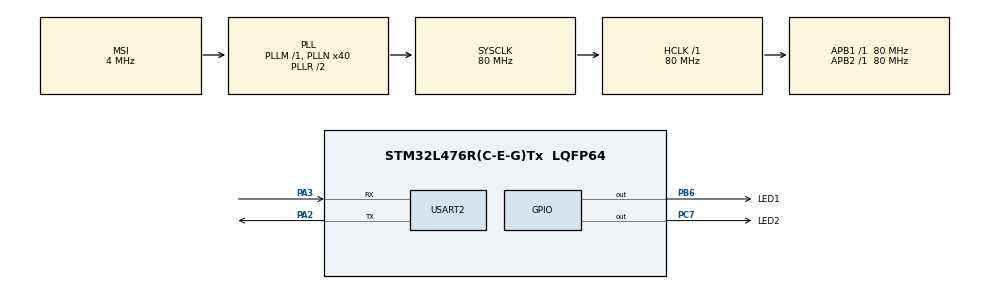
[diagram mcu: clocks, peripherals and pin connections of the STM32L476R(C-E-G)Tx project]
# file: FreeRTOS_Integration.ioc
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Mcu.Family=STM32L4
Mcu.Name=STM32L476R(C-E-G)Tx
Mcu.Package=LQFP64
NVIC.PriorityGroup=NVIC_PRIORITYGROUP_4
NVIC.TIM1_TRG_COM_TIM17_IRQn=true\:15\:0\:false\:false\:true\:false\:true\:true
NVIC.TimeBase=TIM1_TRG_COM_TIM17_IRQn
NVIC.TimeBaseIP=TIM17
PA2.Mode=Asynchronous
PA2.Signal=USART2_TX
PA3.Mode=Asynchronous
PA3.Signal=USART2_RX
PB6.GPIO_Label=LED1
PB6.Signal=GPIO_Output
PC7.GPIO_Label=LED2
PC7.Signal=GPIO_Output
ProjectManager.HeapSize=0x200
ProjectManager.StackSize=0x400
ProjectManager.TargetToolchain=CMake
RCC.ADCFreq_Value=16000000
RCC.AHBFreq_Value=80000000
RCC.APB1Freq_Value=80000000
RCC.APB1TimFreq_Value=80000000
RCC.APB2Freq_Value=80000000
RCC.APB2TimFreq_Value=80000000
RCC.CortexFreq_Value=80000000
RCC.HCLKFreq_Value=80000000
RCC.HSE_VALUE=8000000
RCC.HSI_VALUE=16000000
RCC.LSE_VALUE=32768
RCC.MSI_VALUE=4000000
RCC.PLLN=40
RCC.SYSCLKFreq_VALUE=80000000
RCC.SYSCLKSource=RCC_SYSCLKSOURCE_PLLCLK
RCC.USBFreq_Value=16000000
RCC.VCOOutputFreq_Value=160000000
TIM2.ClockDivision=TIM_CLOCKDIVISION_DIV4
TIM2.Prescaler=1
USART2.VirtualMode-Asynchronous=VM_ASYNC
VP_SYS_VS_tim17.Mode=TIM17
VP_TIM2_VS_ClockSourceINT.Mode=Internal
board=custom

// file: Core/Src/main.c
/* USER CODE BEGIN Header */
/**
 ******************************************************************************
 * @file           : main.c
 * @brief          : Main program body
 ******************************************************************************
 * @attention
 *
 * Copyright (c) 2024 STMicroelectronics.
 * All rights reserved.
 *
 * This software is licensed under terms that can be found in the LICENSE file
 * in the root directory of this software component.
 * If no LICENSE file comes with this software, it is provided AS-IS.
 *
 ******************************************************************************
 */
/* USER CODE END Header */
#include "main.h"
/* USER CODE BEGIN Includes */
#include "FreeRTOS_trace.pb.h"
#include "app.h"
#include "pb_encode.h"
#include <inttypes.h>
#include <stdio.h>
#include <string.h>
/* USER CODE END Includes */

/* USER CODE BEGIN PD */

static void report_result(char *name, uint32_t *start_t, uint32_t *stop_t, uint32_t *msg_len,
                          size_t s) {
  printf("-- Result of %s --\r\n", name);
  for (size_t i = 0; i < s; i++) {
    printf("  CNT: %" PRIu32 " LEN: %" PRIu32 "\r\n", stop_t[i] - start_t[i], msg_len[i]);
  }
}

static inline size_t encode_u8(uint8_t *buf, uint8_t val) {
  buf[0] = val;
  return 1;
}

static inline size_t encode_u32(uint8_t *buf, uint32_t val) {
  for (size_t i = 0; i < 5; i++) {
    uint8_t bits = val & 0x7F;
    val = val >> 7;
    if (val == 0) {
      buf[i] = bits | 0x00;
      return i + 1;
    } else {
      buf[i] = bits | 0x80;
    }
  }
  return 5;
}

static inline size_t encode_u64(uint8_t *buf, uint64_t val) {
  for (size_t i = 0; i < 10; i++) {
    uint8_t bits = val & 0x7F;
    val = val >> 7;
    if (val == 0) {
      buf[i] = bits | 0x00;
      return i + 1;
    } else {
      buf[i] = bits | 0x80;
    }
  }
  return 10;
}

static inline size_t encode_str(uint8_t *buf, char *str) {
  size_t len = 0;

  while (*str != 0) {
    buf[len] = *str;
    len++;
    str++;
  }

  return len;
}

/* USER CODE END PD */

TIM_HandleTypeDef htim2;

UART_HandleTypeDef huart2;

void SystemClock_Config(void);
static void MX_GPIO_Init(void);
static void MX_TIM2_Init(void);
static void MX_USART2_UART_Init(void);

int main(void) {

  /* MCU Configuration--------------------------------------------------------*/

  /* Reset of all peripherals, Initializes the Flash interface and the Systick. */
  HAL_Init();

  /* Configure the system clock */
  SystemClock_Config();

  /* Initialize all configured peripherals */
  MX_GPIO_Init();
  MX_TIM2_Init();
  MX_USART2_UART_Init();
  /* USER CODE BEGIN 2 */

  // Start tim2 (for tracing timestamps):
  HAL_TIM_Base_Start(&htim2);

  NVIC_SetPriority(SVCall_IRQn, 0U);

  // Start DWT
  CoreDebug->DEMCR |= CoreDebug_DEMCR_TRCENA_Msk;
  DWT->CYCCNT = 0;
  DWT->CTRL |= DWT_CTRL_CYCCNTENA_Msk;
  printf("START!\r\n");

  static const size_t CNT = 10;
  uint32_t start_t[CNT];
  uint32_t stop_t[CNT];
  uint32_t msg_len[CNT];

  volatile uint8_t OUT_BUF[100];
  volatile uint64_t ts = 0x12301231;
  volatile uint32_t id = 0x2123;

  // Nanopb: Empty evt (ts + kind) (task_delay)
  memset(start_t, 0, sizeof(start_t));
  memset(stop_t, 0, sizeof(stop_t));
  memset(msg_len, 0, sizeof(msg_len));

  for (size_t i = 0; i < CNT; i++) {
    start_t[i] = DWT->CYCCNT;
    uint8_t buf[100] = {0};
    TraceEvent evt = {
        .ts_ns = ts,
        .which_event = TraceEvent_task_delay_tag,
        .event.task_delay = true, // Value is dont-care
    };
    pb_ostream_t ostream = pb_ostream_from_buffer(buf, 100);
    (void)pb_encode(&ostream, TraceEvent_fields, &evt);
    size_t proto_len = ostream.bytes_written;
    msg_len[i] = proto_len;
    for (size_t j = 0; j < proto_len; j++) {
      OUT_BUF[j] = buf[j];
    }
    stop_t[i] = DWT->CYCCNT;
  }

  report_result("nanopb empty", start_t, stop_t, msg_len, CNT);

  // Nanopb: Basic evt (ts + kind + id)
  memset(start_t, 0, sizeof(start_t));
  memset(stop_t, 0, sizeof(stop_t));
  memset(msg_len, 0, sizeof(msg_len));

  for (size_t i = 0; i < CNT; i++) {
    start_t[i] = DWT->CYCCNT;
    uint8_t buf[100] = {0};
    TraceEvent evt = {
        .ts_ns = ts,
        .which_event = TraceEvent_task_create_tag,
        .event.task_create = id,
    };
    pb_ostream_t ostream = pb_ostream_from_buffer(buf, 100);
    (void)pb_encode(&ostream, TraceEvent_fields, &evt);
    size_t proto_len = ostream.bytes_written;
    msg_len[i] = proto_len;
    for (size_t j = 0; j < proto_len; j++) {
      OUT_BUF[j] = buf[j];
    }
    stop_t[i] = DWT->CYCCNT;
  }

  report_result("nanopb basic", start_t, stop_t, msg_len, CNT);

  // Nanopb: String evt (ts + kind + id + string)
  memset(start_t, 0, sizeof(start_t));
  memset(stop_t, 0, sizeof(stop_t));
  memset(msg_len, 0, sizeof(msg_len));

  for (size_t i = 0; i < CNT; i++) {
    start_t[i] = DWT->CYCCNT;
    uint8_t buf[100] = {0};
    TraceEvent evt = {
        .ts_ns = ts,
        .which_event = TraceEvent_task_name_tag,
        .event.task_name = {.id = id, .name = "name"},
    };
    pb_ostream_t ostream = pb_ostream_from_buffer(buf, 100);
    (void)pb_encode(&ostream, TraceEvent_fields, &evt);
    size_t proto_len = ostream.bytes_written;
    msg_len[i] = proto_len;
    for (size_t j = 0; j < proto_len; j++) {
      OUT_BUF[j] = buf[j];
    }
    stop_t[i] = DWT->CYCCNT;
  }

  report_result("nanopb string", start_t, stop_t, msg_len, CNT);

  // Custom: Empty evt (ts + kind) (task_delay)
  memset(start_t, 0, sizeof(start_t));
  memset(stop_t, 0, sizeof(stop_t));
  memset(msg_len, 0, sizeof(msg_len));

  for (size_t i = 0; i < CNT; i++) {
    start_t[i] = DWT->CYCCNT;
    uint8_t buf[100] = {0};
    size_t len = 0;

    len += encode_u8(buf + len, 19);
    len += encode_u64(buf + len, ts);

    msg_len[i] = len;
    for (size_t j = 0; j < len; j++) {
      OUT_BUF[j] = buf[j];
    }
    stop_t[i] = DWT->CYCCNT;
  }

  report_result("custom empty", start_t, stop_t, msg_len, CNT);

  // Custom: Basic evt (ts + kind + id)
  memset(start_t, 0, sizeof(start_t));
  memset(stop_t, 0, sizeof(stop_t));
  memset(msg_len, 0, sizeof(msg_len));

  for (size_t i = 0; i < CNT; i++) {
    start_t[i] = DWT->CYCCNT;
    uint8_t buf[100] = {0};
    size_t len = 0;

    len += encode_u8(buf + len, 19);  // kind
    len += encode_u64(buf + len, ts); // ts
    len += encode_u32(buf + len, id); // id

    msg_len[i] = len;
    for (size_t j = 0; j < len; j++) {
      OUT_BUF[j] = buf[j];
    }
    stop_t[i] = DWT->CYCCNT;
  }

  report_result("custom basic", start_t, stop_t, msg_len, CNT);

  // Custom: String evt (ts + kind + id + string)
  memset(start_t, 0, sizeof(start_t));
  memset(stop_t, 0, sizeof(stop_t));
  memset(msg_len, 0, sizeof(msg_len));

  for (size_t i = 0; i < CNT; i++) {
    start_t[i] = DWT->CYCCNT;
    uint8_t buf[100] = {0};
    size_t len = 0;

    len += encode_u8(buf + len, 19);      // kind
    len += encode_u64(buf + len, ts);     // ts
    len += encode_u32(buf + len, id);     // id
    len += encode_str(buf + len, "name"); // id

    msg_len[i] = len;
    for (size_t j = 0; j < len; j++) {
      OUT_BUF[j] = buf[j];
    }
    stop_t[i] = DWT->CYCCNT;
  }

  report_result("custom string", start_t, stop_t, msg_len, CNT);

  // if (rtos_init() != 0) Error_Handler();

  // trace_isr_name(SysTick_IRQn, "Tick");

  // vTaskStartScheduler();

  /* USER CODE END 2 */

  /* Infinite loop */
  while (1) {

  }
}

void SystemClock_Config(void) {
  RCC_OscInitTypeDef RCC_OscInitStruct = {0};
  RCC_ClkInitTypeDef RCC_ClkInitStruct = {0};

  /** Configure the main internal regulator output voltage
   */
  if (HAL_PWREx_ControlVoltageScaling(PWR_REGULATOR_VOLTAGE_SCALE1) != HAL_OK) {
    Error_Handler();
  }

  /** Initializes the RCC Oscillators according to the specified parameters
   * in the RCC_OscInitTypeDef structure.
   */
  RCC_OscInitStruct.OscillatorType = RCC_OSCILLATORTYPE_MSI;
  RCC_OscInitStruct.MSIState = RCC_MSI_ON;
  RCC_OscInitStruct.MSICalibrationValue = 0;
  RCC_OscInitStruct.MSIClockRange = RCC_MSIRANGE_6;
  RCC_OscInitStruct.PLL.PLLState = RCC_PLL_ON;
  RCC_OscInitStruct.PLL.PLLSource = RCC_PLLSOURCE_MSI;
  RCC_OscInitStruct.PLL.PLLM = 1;
  RCC_OscInitStruct.PLL.PLLN = 40;
  RCC_OscInitStruct.PLL.PLLP = RCC_PLLP_DIV7;
  RCC_OscInitStruct.PLL.PLLQ = RCC_PLLQ_DIV2;
  RCC_OscInitStruct.PLL.PLLR = RCC_PLLR_DIV2;
  if (HAL_RCC_OscConfig(&RCC_OscInitStruct) != HAL_OK) {
    Error_Handler();
  }

  /** Initializes the CPU, AHB and APB buses clocks
   */
  RCC_ClkInitStruct.ClockType =
      RCC_CLOCKTYPE_HCLK | RCC_CLOCKTYPE_SYSCLK | RCC_CLOCKTYPE_PCLK1 | RCC_CLOCKTYPE_PCLK2;
  RCC_ClkInitStruct.SYSCLKSource = RCC_SYSCLKSOURCE_PLLCLK;
  RCC_ClkInitStruct.AHBCLKDivider = RCC_SYSCLK_DIV1;
  RCC_ClkInitStruct.APB1CLKDivider = RCC_HCLK_DIV1;
  RCC_ClkInitStruct.APB2CLKDivider = RCC_HCLK_DIV1;

  if (HAL_RCC_ClockConfig(&RCC_ClkInitStruct, FLASH_LATENCY_4) != HAL_OK) {
    Error_Handler();
  }
}

static void MX_TIM2_Init(void) {

  TIM_ClockConfigTypeDef sClockSourceConfig = {0};
  TIM_MasterConfigTypeDef sMasterConfig = {0};

  htim2.Instance = TIM2;
  htim2.Init.Prescaler = 1;
  htim2.Init.CounterMode = TIM_COUNTERMODE_UP;
  htim2.Init.Period = 4294967295;
  htim2.Init.ClockDivision = TIM_CLOCKDIVISION_DIV4;
  htim2.Init.AutoReloadPreload = TIM_AUTORELOAD_PRELOAD_DISABLE;
  if (HAL_TIM_Base_Init(&htim2) != HAL_OK) {
    Error_Handler();
  }
  sClockSourceConfig.ClockSource = TIM_CLOCKSOURCE_INTERNAL;
  if (HAL_TIM_ConfigClockSource(&htim2, &sClockSourceConfig) != HAL_OK) {
    Error_Handler();
  }
  sMasterConfig.MasterOutputTrigger = TIM_TRGO_RESET;
  sMasterConfig.MasterSlaveMode = TIM_MASTERSLAVEMODE_DISABLE;
  if (HAL_TIMEx_MasterConfigSynchronization(&htim2, &sMasterConfig) != HAL_OK) {
    Error_Handler();
  }
}

static void MX_USART2_UART_Init(void) {

  huart2.Instance = USART2;
  huart2.Init.BaudRate = 115200;
  huart2.Init.WordLength = UART_WORDLENGTH_8B;
  huart2.Init.StopBits = UART_STOPBITS_1;
  huart2.Init.Parity = UART_PARITY_NONE;
  huart2.Init.Mode = UART_MODE_TX_RX;
  huart2.Init.HwFlowCtl = UART_HWCONTROL_NONE;
  huart2.Init.OverSampling = UART_OVERSAMPLING_16;
  huart2.Init.OneBitSampling = UART_ONE_BIT_SAMPLE_DISABLE;
  huart2.AdvancedInit.AdvFeatureInit = UART_ADVFEATURE_NO_INIT;
  if (HAL_UART_Init(&huart2) != HAL_OK) {
    Error_Handler();
  }
}

static void MX_GPIO_Init(void) {
  GPIO_InitTypeDef GPIO_InitStruct = {0};

  /* GPIO Ports Clock Enable */
  __HAL_RCC_GPIOA_CLK_ENABLE();
  __HAL_RCC_GPIOC_CLK_ENABLE();
  __HAL_RCC_GPIOB_CLK_ENABLE();

  /*Configure GPIO pin Output Level */
  HAL_GPIO_WritePin(LED2_GPIO_Port, LED2_Pin, GPIO_PIN_RESET);

  /*Configure GPIO pin Output Level */
  HAL_GPIO_WritePin(LED1_GPIO_Port, LED1_Pin, GPIO_PIN_RESET);

  /*Configure GPIO pin : LED2_Pin */
  GPIO_InitStruct.Pin = LED2_Pin;
  GPIO_InitStruct.Mode = GPIO_MODE_OUTPUT_PP;
  GPIO_InitStruct.Pull = GPIO_NOPULL;
  GPIO_InitStruct.Speed = GPIO_SPEED_FREQ_LOW;
  HAL_GPIO_Init(LED2_GPIO_Port, &GPIO_InitStruct);

  /*Configure GPIO pin : LED1_Pin */
  GPIO_InitStruct.Pin = LED1_Pin;
  GPIO_InitStruct.Mode = GPIO_MODE_OUTPUT_PP;
  GPIO_InitStruct.Pull = GPIO_NOPULL;
  GPIO_InitStruct.Speed = GPIO_SPEED_FREQ_LOW;
  HAL_GPIO_Init(LED1_GPIO_Port, &GPIO_InitStruct);

}

void HAL_TIM_PeriodElapsedCallback(TIM_HandleTypeDef *htim) {
  if (htim->Instance == TIM17) {
    HAL_IncTick();
  }
}

void Error_Handler(void) {
  __disable_irq();
  while (1) {
  }
}
